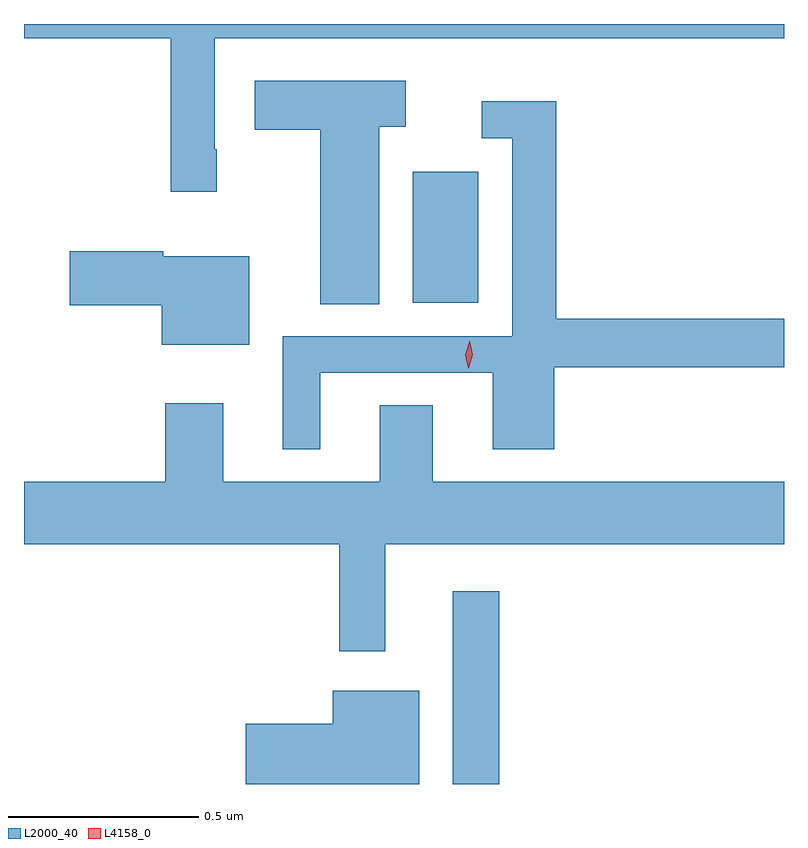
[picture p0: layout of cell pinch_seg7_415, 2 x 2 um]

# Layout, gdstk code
import gdstk
lib = gdstk.Library(unit=1e-6, precision=1e-09)
def R(c, l, rs):  # rectangles x0, y0, x1, y1
    for r in rs: c.add(gdstk.rectangle(r[:2], r[2:], *l))
def P(c, l, *ps):  # polygons
    for p in ps: c.add(gdstk.Polygon(p, *l))
L2000_40 = (2000, 40)
L4158_0 = (4158, 0)

pinch_seg7_415 = lib.new_cell('pinch_seg7_415')
R(pinch_seg7_415, L2000_40, [(574.379,1029.289,574.501,1029.796), (574.274,1030.556,574.447,1030.9)])
P(pinch_seg7_415, L2000_40, [(573.758,1030.96),(573.753,1030.96),(573.753,1031.252),(575.251,1031.252),(575.251,1031.289),(573.251,1031.289),(573.251,1031.252),(573.637,1031.252),(573.637,1030.848),(573.758,1030.848)],
  [(574.186,1031.018),(574.255,1031.018),(574.255,1031.14),(573.858,1031.14),(573.858,1031.011),(574.031,1031.011),(574.031,1030.552),(574.186,1030.552)],
  [(574.03,1030.371),(574.484,1030.371),(574.484,1030.17),(574.646,1030.17),(574.646,1030.386),(575.251,1030.386),(575.251,1030.514),(574.652,1030.514),(574.652,1031.086),(574.455,1031.086),(574.455,1030.989),(574.536,1030.989),(574.536,1030.467),(573.932,1030.467),(573.932,1030.17),(574.03,1030.17)],
  [(573.844,1030.678),(573.618,1030.678),(573.618,1030.691),(573.372,1030.691),(573.372,1030.549),(573.614,1030.549),(573.614,1030.445),(573.844,1030.445)],
  [(574.201,1029.92),(575.251,1029.92),(575.251,1030.084),(574.327,1030.084),(574.327,1030.286),(574.187,1030.286),(574.187,1030.084),(573.775,1030.084),(573.775,1030.291),(573.623,1030.291),(573.623,1030.084),(573.251,1030.084),(573.251,1029.92),(574.08,1029.92),(574.08,1029.639),(574.201,1029.639)],
  [(574.291,1029.535),(574.064,1029.535),(574.064,1029.447),(573.834,1029.447),(573.834,1029.289),(574.291,1029.289)])
P(pinch_seg7_415, L4158_0, [(574.42,1030.383),(574.412,1030.419),(574.424,1030.455),(574.424,1030.455),(574.424,1030.455),(574.432,1030.418),(574.421,1030.383),(574.421,1030.383)])

lib.write_gds('pinch_seg7_415.gds')
